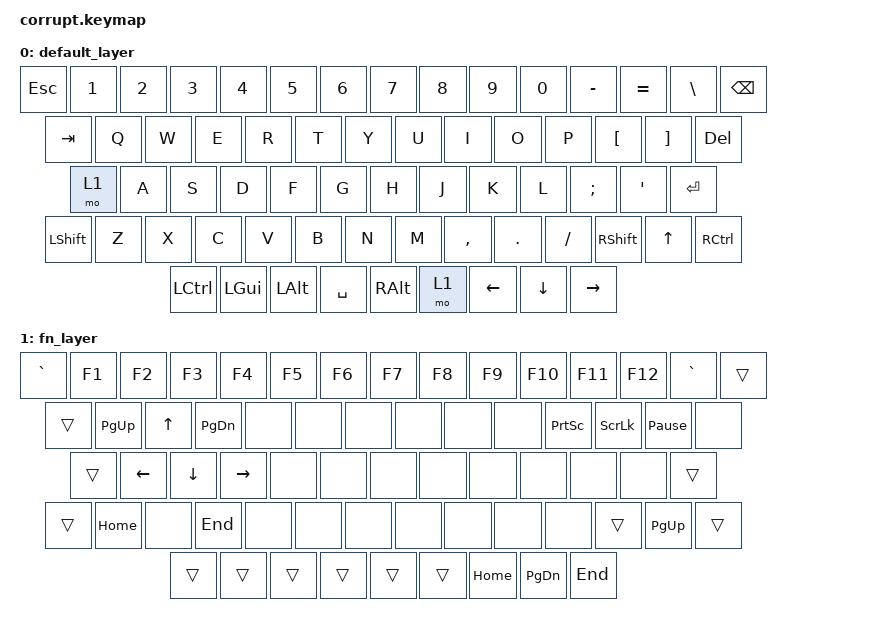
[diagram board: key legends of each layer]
#include <behaviors.dtsi>
#include <dt-bindings/zmk/keys.h>

/ {
	keymap {
		compatible = "zmk,keymap";

		default_layer {
// ------------------------------------------------------------------------------------------
// | ESC |  1  |  2  |  3  |  4  |  5  |  6  |  7  |  8  |  9  |  0  |  -  |  =  |  \  | BSP |
// | TAB    |  Q  |  W  |  E  |  R  |  T  |  Y  |  U  |  I  |  O  |  P  |  [  |  ]  |  DEL   |
// | MO(1)   |  A  |  S  |  D  |  F  |  G  |  H  |  J  |  K  |  L  |  ;  |  '  |  ENTER      |
// | SHIFT    |  Z  |  X  |  C  |  V  |  B  |  N  |  M  |  ,  |  .  |  /  | SHF |  ^  | Ctr  |
// |  CTL  |  WIN  |  ALT  |            SPACE                | ALT | MO(1) |  <- |  v  | ->  |
// ------------------------------------------------------------------------------------------
			bindings = <
	&kp ESC &kp N1 &kp N2 &kp N3 &kp N4 &kp N5 &kp N6 &kp N7 &kp N8 &kp N9 &kp N0 &kp MINUS &kp EQUAL &kp BSLH &kp BSPC
	&kp TAB   &kp Q &kp W &kp E &kp R &kp T &kp Y &kp U &kp I &kp O &kp P &kp LBKT &kp RBKT 					&kp DEL
	&mo 1      &kp A &kp S &kp D &kp F &kp G &kp H &kp J &kp K &kp L &kp SEMI &kp SQT                           &kp RET
	&kp LSHFT   &kp Z &kp X &kp C &kp V &kp B &kp N &kp M &kp COMMA &kp DOT &kp SLASH        &kp RSHFT &kp UP &kp RCTRL
	&kp LCTRL &kp LGUI &kp LALT 				&kp SPACE 			&kp RALT &mo 1 			 &kp LEFT &kp DOWN &kp RIGHT
			>;
		};

		fn_layer {
			bindings = <
	&kp GRAVE &kp F1 &kp F2 &kp F3 &kp F4 &kp F5 &kp F6 &kp F7 &kp F8 &kp F9 &kp F10 &kp F11 &kp F12 &kp GRAVE &trans
	&trans   &kp PG_UP &kp UP &kp PG_DN &none &none &none &none &none &none &kp PSCRN &kp SLCK &kp PAUSE_BREAK &none
	&trans    &kp LEFT &kp DOWN &kp RIGHT &none &none &none &none &none &none &none &none                        &trans
	&trans   &kp HOME &none &kp END &none &none &none &none &none &none &none            &trans &kp PG_UP &trans
	&trans &trans &trans 				&trans 			&trans &trans 			 &kp HOME &kp PG_DN &kp END
			>;
		};
	};
};
